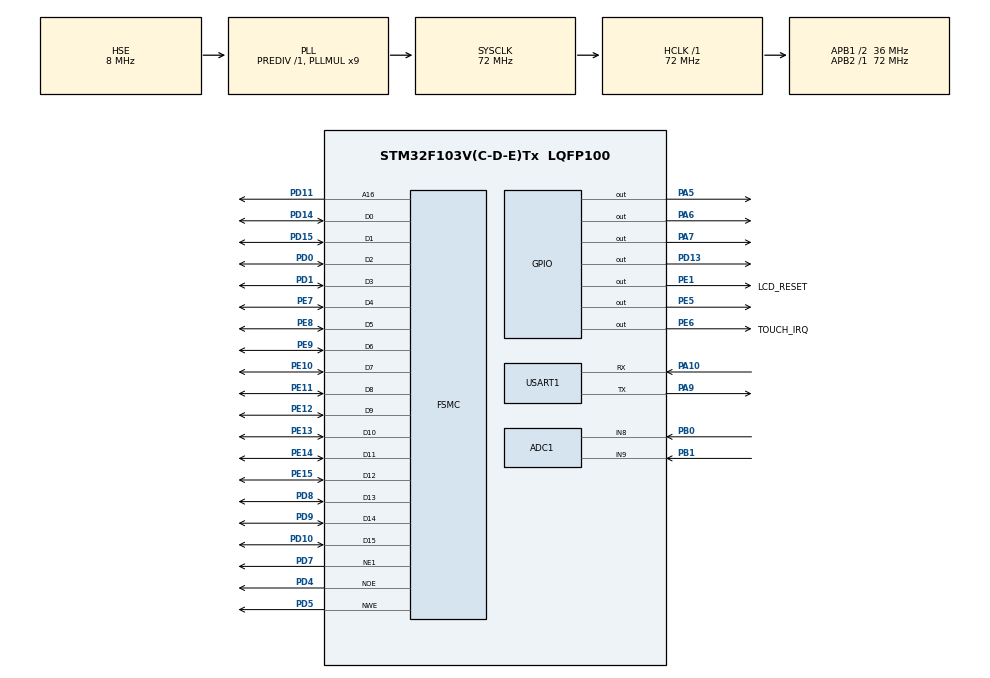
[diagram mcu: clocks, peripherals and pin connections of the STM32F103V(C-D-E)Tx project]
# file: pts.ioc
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ADC1.Channel-0\#ChannelRegularConversion=ADC_CHANNEL_8
ADC1.Channel-1\#ChannelRegularConversion=ADC_CHANNEL_9
ADC1.ContinuousConvMode=DISABLE
ADC1.DataAlign=ADC_DATAALIGN_RIGHT
ADC1.DiscontinuousConvMode=DISABLE
ADC1.EnableAnalogWatchDog=false
ADC1.EnableRegularConversion=ENABLE
ADC1.ExternalTrigConv=ADC_SOFTWARE_START
ADC1.InjNumberOfConversion=0
ADC1.NbrOfConversion=2
ADC1.NbrOfConversionFlag=1
ADC1.Rank-0\#ChannelRegularConversion=1
ADC1.Rank-1\#ChannelRegularConversion=2
ADC1.SamplingTime-0\#ChannelRegularConversion=ADC_SAMPLETIME_1CYCLE_5
ADC1.SamplingTime-1\#ChannelRegularConversion=ADC_SAMPLETIME_1CYCLE_5
ADC1.ScanConvMode=ADC_SCAN_ENABLE
ADC1.master=1
Dma.ADC1.0.Direction=DMA_PERIPH_TO_MEMORY
Dma.ADC1.0.Instance=DMA1_Channel1
Dma.ADC1.0.MemDataAlignment=DMA_MDATAALIGN_WORD
Dma.ADC1.0.MemInc=DMA_MINC_ENABLE
Dma.ADC1.0.Mode=DMA_CIRCULAR
Dma.ADC1.0.PeriphDataAlignment=DMA_PDATAALIGN_WORD
Dma.ADC1.0.PeriphInc=DMA_PINC_DISABLE
Dma.ADC1.0.Priority=DMA_PRIORITY_LOW
Dma.Request0=ADC1
Mcu.Family=STM32F1
Mcu.Name=STM32F103V(C-D-E)Tx
Mcu.Package=LQFP100
NVIC.DMA1_Channel1_IRQn=true\:0\:0\:false\:false\:true\:false\:true
NVIC.PriorityGroup=NVIC_PRIORITYGROUP_4
NVIC.TIM6_IRQn=true\:0\:0\:false\:false\:true\:true\:true
NVIC.USART1_IRQn=true\:0\:0\:false\:false\:true\:true\:true
OSC_IN.Mode=HSE-External-Oscillator
OSC_IN.Signal=RCC_OSC_IN
OSC_OUT.Mode=HSE-External-Oscillator
OSC_OUT.Signal=RCC_OSC_OUT
PA10.Mode=Asynchronous
PA10.Signal=USART1_RX
PA5.Signal=GPIO_Output
PA6.Signal=GPIO_Output
PA7.Signal=GPIO_Output
PA9.Mode=Asynchronous
PA9.Signal=USART1_TX
PB0.Signal=ADCx_IN8
PB1.Signal=ADCx_IN9
PD0.Mode=16b-d1
PD0.Signal=FSMC_D2
PD1.Mode=16b-d1
PD1.Signal=FSMC_D3
PD10.Mode=16b-d1
PD10.Signal=FSMC_D15
PD11.Mode=A16_1
PD11.Signal=FSMC_A16
PD13.Signal=GPIO_Output
PD14.Mode=16b-d1
PD14.Signal=FSMC_D0
PD15.Mode=16b-d1
PD15.Signal=FSMC_D1
PD4.Mode=Lcd1
PD4.Signal=FSMC_NOE
PD5.Mode=Lcd1
PD5.Signal=FSMC_NWE
PD7.Mode=NorPsramChipSelect1_1
PD7.Signal=FSMC_NE1
PD8.Mode=16b-d1
PD8.Signal=FSMC_D13
PD9.Mode=16b-d1
PD9.Signal=FSMC_D14
PE1.GPIO_Label=LCD_RESET
PE1.Signal=GPIO_Output
PE10.Mode=16b-d1
PE10.Signal=FSMC_D7
PE11.Mode=16b-d1
PE11.Signal=FSMC_D8
PE12.Mode=16b-d1
PE12.Signal=FSMC_D9
PE13.Mode=16b-d1
PE13.Signal=FSMC_D10
PE14.Mode=16b-d1
PE14.Signal=FSMC_D11
PE15.Mode=16b-d1
PE15.Signal=FSMC_D12
PE5.Signal=GPIO_Output
PE6.GPIO_Label=TOUCH_IRQ
PE6.Signal=GPIO_Output
PE7.Mode=16b-d1
PE7.Signal=FSMC_D4
PE8.Mode=16b-d1
PE8.Signal=FSMC_D5
PE9.Mode=16b-d1
PE9.Signal=FSMC_D6
ProjectManager.HeapSize=0x200
ProjectManager.StackSize=0x400
ProjectManager.TargetToolchain=STM32CubeIDE
RCC.ADCPresc=RCC_ADCPCLK2_DIV6
RCC.AHBFreq_Value=72000000
RCC.APB1CLKDivider=RCC_HCLK_DIV2
RCC.APB1Freq_Value=36000000
RCC.APB1TimFreq_Value=72000000
RCC.APB2Freq_Value=72000000
RCC.APB2TimFreq_Value=72000000
RCC.HCLKFreq_Value=72000000
RCC.PLLMUL=RCC_PLL_MUL9
RCC.PLLSourceVirtual=RCC_PLLSOURCE_HSE
RCC.SYSCLKFreq_VALUE=72000000
RCC.SYSCLKSource=RCC_SYSCLKSOURCE_PLLCLK
RCC.USBFreq_Value=72000000
SH.ADCx_IN8.0=ADC1_IN8,IN8
SH.ADCx_IN9.0=ADC1_IN9,IN9
TIM6.AutoReloadPreload=TIM_AUTORELOAD_PRELOAD_ENABLE
TIM6.Period=999
TIM6.Prescaler=36000
USART1.VirtualMode=VM_ASYNC
VP_SYS_VS_ND.Mode=No_Debug
VP_TIM6_VS_ClockSourceINT.Mode=Enable_Timer
board=GLCD1

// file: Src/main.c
/* USER CODE BEGIN Header */
/**
  ******************************************************************************
  * @file           : main.c
  * @brief          : Main program body
  ******************************************************************************
  * @attention
  *
  * <h2><center>&copy; Copyright (c) 2021 STMicroelectronics.
  * All rights reserved.</center></h2>
  *
  * This software component is licensed by ST under BSD 3-Clause license,
  * the "License"; You may not use this file except in compliance with the
  * License. You may obtain a copy of the License at:
  *                        opensource.org/licenses/BSD-3-Clause
  *
  ******************************************************************************
  */
/* USER CODE END Header */

#include "main.h"

/* USER CODE BEGIN Includes */
#include "stm32f1xx_hal.h"
#include "lcd.h"
#include "lcd32.h"
#include "stdio.h"
#define u16 uint16_t
#define u32 uint32_t
#define u8 uint8_t
/* USER CODE END Includes */

ADC_HandleTypeDef hadc1;
DMA_HandleTypeDef hdma_adc1;

TIM_HandleTypeDef htim6;

UART_HandleTypeDef huart1;

SRAM_HandleTypeDef hsram1;

void SystemClock_Config(void);
static void MX_GPIO_Init(void);
static void MX_DMA_Init(void);
static void MX_USART1_UART_Init(void);
static void MX_ADC1_Init(void);
static void MX_FSMC_Init(void);
static void MX_TIM6_Init(void);

/* USER CODE BEGIN 0 */
int _write(int file, unsigned char* p, int len)
{
   HAL_UART_Transmit(&huart1, p, len, 10);
   return len;
}
#ifdef __GNUC__
#define PUTCHAR_PROTOTYPE int __io_putchar(int ch)
#else
#define PUTCHAR_PROTOTYPE int fputc(int ch, FILE *f)  //for printf
#endif
PUTCHAR_PROTOTYPE
{
  HAL_UART_Transmit(&huart1, (uint8_t *)&ch, 1, 0xFFFF);
  return ch;
}
unsigned char Timer_500m;
extern TIM_HandleTypeDef htim6;

void HAL_TIM_PeriodElapsedCallback(TIM_HandleTypeDef *htim)
{
	if (htim->Instance == TIM6)
	{
		Timer_500m++;
	}
}

uint8_t Rx_Data[2] = {0,};
uint8_t Rx_Buffer[20] = {0,};
uint8_t USART1_len = 0;
uint8_t USART1_rx_end = 0;

void HAL_UART_RxCpltCallback(UART_HandleTypeDef *huart)
{
	static uint8_t usart1_chk = 0;
	if(huart -> Instance == USART1)
	{
		USART1_rx_end = 0;
		switch(usart1_chk)
		{
		case 0:
			if (Rx_Data[0] == 0x02) {
				Rx_Buffer[USART1_len] = Rx_Data[0];
				USART1_len++;
				usart1_chk = 1;
			}
			else usart1_chk = 0;
			break;
		case 1:
			Rx_Buffer[USART1_len] = Rx_Data[0];
			USART1_len++;

			if (Rx_Data[0] == 0x03) {
				USART1_rx_end = 1;
				usart1_chk = 0;
			}
			break;
		default:
			usart1_chk = 0;
			break;
		}
		HAL_UART_Receive_IT(&huart1, Rx_Data, 1);
	}
}
/* USER CODE END 0 */

int main(void)
{
  /* USER CODE BEGIN 1 */
	int seconds = 0;
	int m = 0;
	int s = 0;
	int bef_m = 0;
	int bef_s = 0;
	int seconds_zero_flag = 0;
	int seconds_init_falg = 0;

  /* USER CODE END 1 */

  /* MCU Configuration--------------------------------------------------------*/

  /* Reset of all peripherals, Initializes the Flash interface and the Systick. */
  HAL_Init();

  /* Configure the system clock */
  SystemClock_Config();

  /* Initialize all configured peripherals */
  MX_GPIO_Init();
  MX_DMA_Init();
  MX_USART1_UART_Init();
  MX_ADC1_Init();
  MX_FSMC_Init();
  MX_TIM6_Init();
  /* USER CODE BEGIN 2 */
  setvbuf(stdout, NULL, _IONBF, 0);
  HAL_TIM_Base_Start_IT(&htim6);
  HAL_UART_Receive_IT(&huart1, Rx_Data, 1);
  /* USER CODE END 2 */

  /* Infinite loop */
  /* USER CODE BEGIN WHILE */
  bsp_lcd32_init();

  lcd32_clear_screen(WHITE);

  lcd32_background_image();

  u8 num_pos[5] = {237, 202, 177, 132, 97};
  u8 lines_pos[3] = {140, 70, 100};
  u8 ok_payload[6] = {0x02, 0x02, 0x01, 0x00, 0x00, 0x03};

  lcd32_print_TimeFonts(103, lines_pos[2], (u16*)"���", WHITE);

  while (1)
  {
    /* USER CODE END WHILE */

    /* USER CODE BEGIN 3 */
	  if (USART1_rx_end) {
		  // PROTOCOL : 0x02 Sender(1byte) CMD(1byte) DATA(2byte) 0x03
		  u8 sender = Rx_Buffer[1];
		  u8 cmd = Rx_Buffer[2];
		  u8 data[2] = { Rx_Buffer[3], Rx_Buffer[4] };

		  // SENDER : RPI AND CMD : SET_SECONDS
		  if (sender == 0x01 && cmd == 0x13) {
			  seconds = (data[0] << 8) | data[1];
			  printf("%c%c%c%c%c%c", ok_payload[0], ok_payload[1], ok_payload[2], ok_payload[3], ok_payload[4], ok_payload[5]); // OK

			  if (!seconds_init_falg) {
				  lcd32_print_TimeFonts(103, lines_pos[2], (u16*)"���", 0x8d59);
				  lcd32_print_TimeFont(num_pos[0], lines_pos[0], m / 10 + '0', WHITE);
				  lcd32_print_TimeFont(num_pos[1], lines_pos[0], m % 10 + '0', WHITE);
				  lcd32_print_TimeFont(num_pos[2], lines_pos[0], ':', WHITE);
				  lcd32_print_TimeFont(num_pos[3], lines_pos[0], s / 10 + '0', WHITE);
				  lcd32_print_TimeFont(num_pos[4], lines_pos[0], s % 10 + '0', WHITE);
				  lcd32_print_TimeFonts(42, lines_pos[0], (u16*)"��", WHITE);
				  lcd32_print_TimeFonts(45, lines_pos[1], (u16*)"��������", WHITE);
				  seconds_init_falg = 1;
			  }
		  }
		  USART1_rx_end = 0;
		  USART1_len = 0;
	  }
	  if (Timer_500m >= 2 && seconds >= 0 && seconds_init_falg) {
		  if (seconds_zero_flag) {
			  seconds_zero_flag = 0;
			  lcd32_print_TimeFonts(103, lines_pos[2], (u16*)"����", 0x8d59);
			  lcd32_print_TimeFont(num_pos[0], lines_pos[0], m / 10 + '0', WHITE);
			    lcd32_print_TimeFont(num_pos[1], lines_pos[0], m % 10 + '0', WHITE);
			    lcd32_print_TimeFont(num_pos[2], lines_pos[0], ':', WHITE);
			    lcd32_print_TimeFont(num_pos[3], lines_pos[0], s / 10 + '0', WHITE);
			    lcd32_print_TimeFont(num_pos[4], lines_pos[0], s % 10 + '0', WHITE);
			  lcd32_print_TimeFonts(42, lines_pos[0], (u16*)"��", WHITE);
			  lcd32_print_TimeFonts(45, lines_pos[1], (u16*)"��������", WHITE);
		  }
		  m = seconds / 60;
		  s = seconds % 60;
		  seconds--;

		  if (bef_m / 10 != m / 10) {
			  lcd32_print_TimeFont(num_pos[0], lines_pos[0], bef_m / 10 + '0', 0x8d59);
			  lcd32_print_TimeFont(num_pos[0], lines_pos[0], m / 10 + '0', WHITE);
		  }
		  if (bef_m % 10 != m % 10) {
			  lcd32_print_TimeFont(num_pos[1], lines_pos[0], bef_m % 10 + '0', 0x8d59);
			  lcd32_print_TimeFont(num_pos[1], lines_pos[0], m % 10 + '0', WHITE);
		  }
		  if (bef_s / 10 != s / 10) {
			  lcd32_print_TimeFont(num_pos[3], lines_pos[0], bef_s / 10 + '0', 0x8d59);
			  lcd32_print_TimeFont(num_pos[3], lines_pos[0], s / 10 + '0', WHITE);
		  }
		  if (bef_s % 10 != s % 10) {
			  lcd32_print_TimeFont(num_pos[4], lines_pos[0], bef_s % 10 + '0', 0x8d59);
			  lcd32_print_TimeFont(num_pos[4], lines_pos[0], s % 10 + '0', WHITE);
		  }

		  bef_m = m;
		  bef_s = s;
		  Timer_500m = 0;
	  }
	  if (seconds == -1 && !seconds_zero_flag && seconds_init_falg) {
		  seconds_zero_flag = 1;
		  lcd32_print_TimeFont(num_pos[0], lines_pos[0], m / 10 + '0', 0x8d59);
		  lcd32_print_TimeFont(num_pos[1], lines_pos[0], m % 10 + '0', 0x8d59);
		  lcd32_print_TimeFont(num_pos[2], lines_pos[0], ':', 0x8d59);
		  lcd32_print_TimeFont(num_pos[3], lines_pos[0], s / 10 + '0', 0x8d59);
		  lcd32_print_TimeFont(num_pos[4], lines_pos[0], s % 10 + '0', 0x8d59);
		  lcd32_print_TimeFonts(42, lines_pos[0], (u16*)"��", 0x8d59);
		  lcd32_print_TimeFonts(45, lines_pos[1], (u16*)"��������", 0x8d59);
		  lcd32_print_TimeFonts(103, lines_pos[2], (u16*)"����", WHITE);
	  }
  }
  /* USER CODE END 3 */
}

void SystemClock_Config(void)
{
  RCC_OscInitTypeDef RCC_OscInitStruct = {0};
  RCC_ClkInitTypeDef RCC_ClkInitStruct = {0};
  RCC_PeriphCLKInitTypeDef PeriphClkInit = {0};

  /** Initializes the CPU, AHB and APB busses clocks
  */
  RCC_OscInitStruct.OscillatorType = RCC_OSCILLATORTYPE_HSE;
  RCC_OscInitStruct.HSEState = RCC_HSE_ON;
  RCC_OscInitStruct.HSEPredivValue = RCC_HSE_PREDIV_DIV1;
  RCC_OscInitStruct.HSIState = RCC_HSI_ON;
  RCC_OscInitStruct.PLL.PLLState = RCC_PLL_ON;
  RCC_OscInitStruct.PLL.PLLSource = RCC_PLLSOURCE_HSE;
  RCC_OscInitStruct.PLL.PLLMUL = RCC_PLL_MUL9;
  if (HAL_RCC_OscConfig(&RCC_OscInitStruct) != HAL_OK)
  {
    Error_Handler();
  }
  /** Initializes the CPU, AHB and APB busses clocks
  */
  RCC_ClkInitStruct.ClockType = RCC_CLOCKTYPE_HCLK|RCC_CLOCKTYPE_SYSCLK
                              |RCC_CLOCKTYPE_PCLK1|RCC_CLOCKTYPE_PCLK2;
  RCC_ClkInitStruct.SYSCLKSource = RCC_SYSCLKSOURCE_PLLCLK;
  RCC_ClkInitStruct.AHBCLKDivider = RCC_SYSCLK_DIV1;
  RCC_ClkInitStruct.APB1CLKDivider = RCC_HCLK_DIV2;
  RCC_ClkInitStruct.APB2CLKDivider = RCC_HCLK_DIV1;

  if (HAL_RCC_ClockConfig(&RCC_ClkInitStruct, FLASH_LATENCY_2) != HAL_OK)
  {
    Error_Handler();
  }
  PeriphClkInit.PeriphClockSelection = RCC_PERIPHCLK_ADC;
  PeriphClkInit.AdcClockSelection = RCC_ADCPCLK2_DIV6;
  if (HAL_RCCEx_PeriphCLKConfig(&PeriphClkInit) != HAL_OK)
  {
    Error_Handler();
  }
}

static void MX_ADC1_Init(void)
{

  ADC_ChannelConfTypeDef sConfig = {0};

  /** Common config
  */
  hadc1.Instance = ADC1;
  hadc1.Init.ScanConvMode = ADC_SCAN_ENABLE;
  hadc1.Init.ContinuousConvMode = DISABLE;
  hadc1.Init.DiscontinuousConvMode = DISABLE;
  hadc1.Init.ExternalTrigConv = ADC_SOFTWARE_START;
  hadc1.Init.DataAlign = ADC_DATAALIGN_RIGHT;
  hadc1.Init.NbrOfConversion = 2;
  if (HAL_ADC_Init(&hadc1) != HAL_OK)
  {
    Error_Handler();
  }
  /** Configure Regular Channel
  */
  sConfig.Channel = ADC_CHANNEL_8;
  sConfig.Rank = ADC_REGULAR_RANK_1;
  sConfig.SamplingTime = ADC_SAMPLETIME_1CYCLE_5;
  if (HAL_ADC_ConfigChannel(&hadc1, &sConfig) != HAL_OK)
  {
    Error_Handler();
  }
  /** Configure Regular Channel
  */
  sConfig.Channel = ADC_CHANNEL_9;
  sConfig.Rank = ADC_REGULAR_RANK_2;
  if (HAL_ADC_ConfigChannel(&hadc1, &sConfig) != HAL_OK)
  {
    Error_Handler();
  }

}

static void MX_TIM6_Init(void)
{

  TIM_MasterConfigTypeDef sMasterConfig = {0};

  htim6.Instance = TIM6;
  htim6.Init.Prescaler = 36000;
  htim6.Init.CounterMode = TIM_COUNTERMODE_UP;
  htim6.Init.Period = 999;
  htim6.Init.AutoReloadPreload = TIM_AUTORELOAD_PRELOAD_ENABLE;
  if (HAL_TIM_Base_Init(&htim6) != HAL_OK)
  {
    Error_Handler();
  }
  sMasterConfig.MasterOutputTrigger = TIM_TRGO_RESET;
  sMasterConfig.MasterSlaveMode = TIM_MASTERSLAVEMODE_DISABLE;
  if (HAL_TIMEx_MasterConfigSynchronization(&htim6, &sMasterConfig) != HAL_OK)
  {
    Error_Handler();
  }

}

static void MX_USART1_UART_Init(void)
{

  huart1.Instance = USART1;
  huart1.Init.BaudRate = 115200;
  huart1.Init.WordLength = UART_WORDLENGTH_8B;
  huart1.Init.StopBits = UART_STOPBITS_1;
  huart1.Init.Parity = UART_PARITY_NONE;
  huart1.Init.Mode = UART_MODE_TX_RX;
  huart1.Init.HwFlowCtl = UART_HWCONTROL_NONE;
  huart1.Init.OverSampling = UART_OVERSAMPLING_16;
  if (HAL_UART_Init(&huart1) != HAL_OK)
  {
    Error_Handler();
  }

}

static void MX_DMA_Init(void)
{

  /* DMA controller clock enable */
  __HAL_RCC_DMA1_CLK_ENABLE();

  /* DMA interrupt init */
  /* DMA1_Channel1_IRQn interrupt configuration */
  HAL_NVIC_SetPriority(DMA1_Channel1_IRQn, 0, 0);
  HAL_NVIC_EnableIRQ(DMA1_Channel1_IRQn);

}

static void MX_GPIO_Init(void)
{
  GPIO_InitTypeDef GPIO_InitStruct = {0};

  /* GPIO Ports Clock Enable */
  __HAL_RCC_GPIOE_CLK_ENABLE();
  __HAL_RCC_GPIOA_CLK_ENABLE();
  __HAL_RCC_GPIOB_CLK_ENABLE();
  __HAL_RCC_GPIOD_CLK_ENABLE();

  /*Configure GPIO pin Output Level */
  HAL_GPIO_WritePin(GPIOE, GPIO_PIN_5|TOUCH_IRQ_Pin|LCD_RESET_Pin, GPIO_PIN_RESET);

  /*Configure GPIO pin Output Level */
  HAL_GPIO_WritePin(GPIOA, GPIO_PIN_5|GPIO_PIN_6|GPIO_PIN_7, GPIO_PIN_RESET);

  /*Configure GPIO pin Output Level */
  HAL_GPIO_WritePin(GPIOD, GPIO_PIN_13, GPIO_PIN_RESET);

  /*Configure GPIO pins : PE5 TOUCH_IRQ_Pin LCD_RESET_Pin */
  GPIO_InitStruct.Pin = GPIO_PIN_5|TOUCH_IRQ_Pin|LCD_RESET_Pin;
  GPIO_InitStruct.Mode = GPIO_MODE_OUTPUT_PP;
  GPIO_InitStruct.Pull = GPIO_NOPULL;
  GPIO_InitStruct.Speed = GPIO_SPEED_FREQ_LOW;
  HAL_GPIO_Init(GPIOE, &GPIO_InitStruct);

  /*Configure GPIO pins : PA5 PA6 PA7 */
  GPIO_InitStruct.Pin = GPIO_PIN_5|GPIO_PIN_6|GPIO_PIN_7;
  GPIO_InitStruct.Mode = GPIO_MODE_OUTPUT_PP;
  GPIO_InitStruct.Pull = GPIO_NOPULL;
  GPIO_InitStruct.Speed = GPIO_SPEED_FREQ_LOW;
  HAL_GPIO_Init(GPIOA, &GPIO_InitStruct);

  /*Configure GPIO pin : PD13 */
  GPIO_InitStruct.Pin = GPIO_PIN_13;
  GPIO_InitStruct.Mode = GPIO_MODE_OUTPUT_PP;
  GPIO_InitStruct.Pull = GPIO_NOPULL;
  GPIO_InitStruct.Speed = GPIO_SPEED_FREQ_LOW;
  HAL_GPIO_Init(GPIOD, &GPIO_InitStruct);

}

/* FSMC initialization function */
static void MX_FSMC_Init(void)
{

  FSMC_NORSRAM_TimingTypeDef Timing = {0};

  /** Perform the SRAM1 memory initialization sequence
  */
  hsram1.Instance = FSMC_NORSRAM_DEVICE;
  hsram1.Extended = FSMC_NORSRAM_EXTENDED_DEVICE;
  /* hsram1.Init */
  hsram1.Init.NSBank = FSMC_NORSRAM_BANK1;
  hsram1.Init.DataAddressMux = FSMC_DATA_ADDRESS_MUX_DISABLE;
  hsram1.Init.MemoryType = FSMC_MEMORY_TYPE_SRAM;
  hsram1.Init.MemoryDataWidth = FSMC_NORSRAM_MEM_BUS_WIDTH_16;
  hsram1.Init.BurstAccessMode = FSMC_BURST_ACCESS_MODE_DISABLE;
  hsram1.Init.WaitSignalPolarity = FSMC_WAIT_SIGNAL_POLARITY_LOW;
  hsram1.Init.WrapMode = FSMC_WRAP_MODE_DISABLE;
  hsram1.Init.WaitSignalActive = FSMC_WAIT_TIMING_BEFORE_WS;
  hsram1.Init.WriteOperation = FSMC_WRITE_OPERATION_ENABLE;
  hsram1.Init.WaitSignal = FSMC_WAIT_SIGNAL_DISABLE;
  hsram1.Init.ExtendedMode = FSMC_EXTENDED_MODE_DISABLE;
  hsram1.Init.AsynchronousWait = FSMC_ASYNCHRONOUS_WAIT_DISABLE;
  hsram1.Init.WriteBurst = FSMC_WRITE_BURST_DISABLE;
  /* Timing */
  Timing.AddressSetupTime = 15;
  Timing.AddressHoldTime = 15;
  Timing.DataSetupTime = 255;
  Timing.BusTurnAroundDuration = 15;
  Timing.CLKDivision = 16;
  Timing.DataLatency = 17;
  Timing.AccessMode = FSMC_ACCESS_MODE_A;
  /* ExtTiming */

  if (HAL_SRAM_Init(&hsram1, &Timing, NULL) != HAL_OK)
  {
    Error_Handler( );
  }

  /** Disconnect NADV
  */

  __HAL_AFIO_FSMCNADV_DISCONNECTED();

}

void Error_Handler(void)
{
}

/************************ (C) COPYRIGHT STMicroelectronics *****END OF FILE****/
